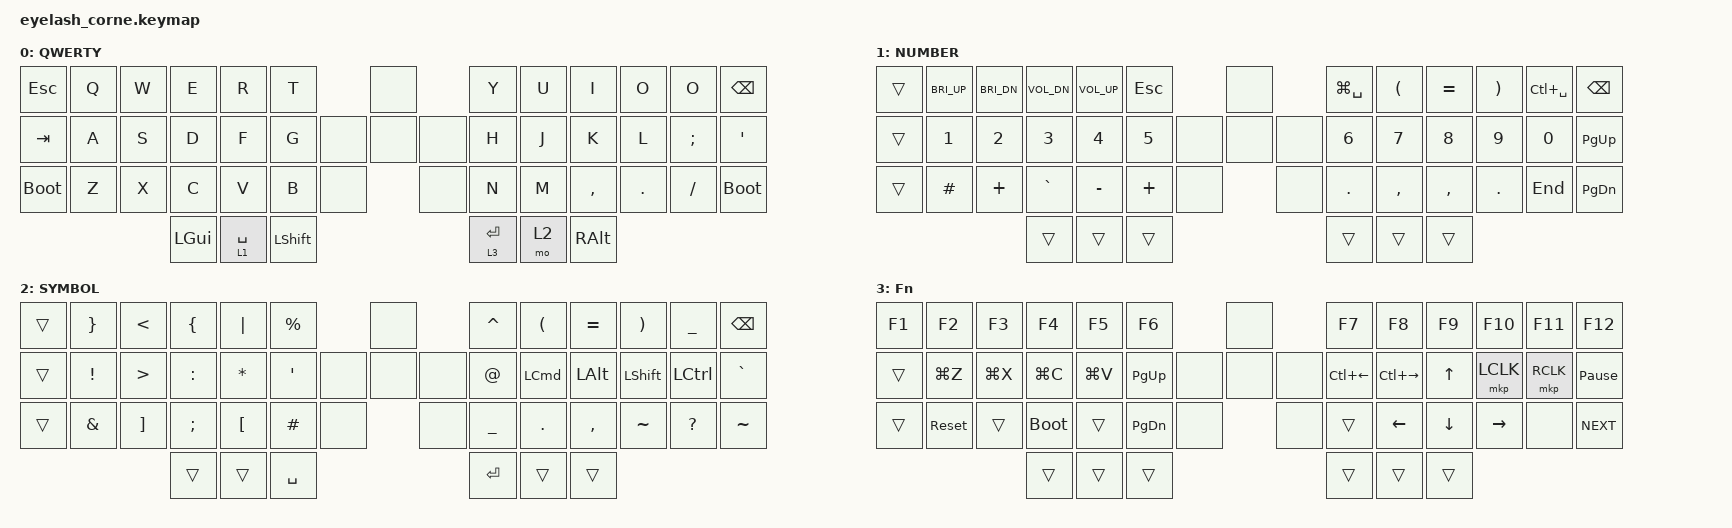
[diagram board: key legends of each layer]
#define ZMK_POINTING_DEFAULT_MOVE_VAL 1200  // 600
#define ZMK_POINTING_DEFAULT_SCRL_VAL 25   // 10

#include <input/processors.dtsi>
#include <zephyr/dt-bindings/input/input-event-codes.h>
#include <behaviors.dtsi>
#include <dt-bindings/zmk/keys.h>
#include <dt-bindings/zmk/pointing.h>
#include <dt-bindings/zmk/rgb.h>

&mmv_input_listener { input-processors = <&zip_xy_scaler 2 1>; };

&msc_input_listener { input-processors = <&zip_scroll_scaler 2 1>; };

&msc {
    acceleration-exponent = <1>;      // 0
    time-to-max-speed-ms = <100>;       // 300
    delay-ms = <0>;                   // 0
};

&mmv {
    time-to-max-speed-ms = <500>;
    acceleration-exponent = <1>;
    trigger-period-ms = <16>;
};

/ {
    behaviors {
        td0: td0 {
            compatible = "zmk,behavior-tap-dance";
            display-name = "Shift/Caps Lock Tap Dance";
            #binding-cells = <0>;
            bindings = <&kp LEFT_SHIFT>, <&kp CAPS>;
        };
    };

    rgb_encoder: rgb_encoder {
        compatible = "zmk,behavior-sensor-rotate";
        #sensor-binding-cells = <0>;
        bindings = <&rgb_ug RGB_BRI>, <&rgb_ug RGB_BRD>;
    };

    scroll_encoder: scroll_encoder {
        compatible = "zmk,behavior-sensor-rotate";
        #sensor-binding-cells = <0>;
        bindings = <&msc SCRL_DOWN>, <&msc SCRL_UP>;

        tap-ms = <100>;
    };

    combos {
        compatible = "zmk,combos";

        tab {
            bindings = <&kp TAB>;
            key-positions = <15 16 17>;
        };

        enter {
            bindings = <&kp ENTER>;
            key-positions = <23 24 25>;
        };
    };

    keymap {
        compatible = "zmk,keymap";

        qwerty {
            display-name = "QWERTY";
            bindings = <
&kp ESC      &kp Q  &kp W  &kp E     &kp R        &kp T                           &none         &kp Y        &kp U  &kp I      &kp O    &kp O          &kp BSPC
&kp TAB      &kp A  &kp S  &kp D     &kp F        &kp G                    &none  &none  &none  &kp H        &kp J  &kp K      &kp L    &kp SEMICOLON  &kp SQT
&bootloader  &kp Z  &kp X  &kp C     &kp V        &kp B           &none           &none         &kp N        &kp M  &kp COMMA  &kp DOT  &kp SLASH      &bootloader
                           &kp LGUI  &lt 1 SPACE  &kp LEFT_SHIFT                                &lt 3 ENTER  &mo 2  &kp RALT
            >;
        };

        nums {
            display-name = "NUMBER";
            bindings = <
&trans  &kp C_BRI_UP  &kp C_BRI_DN  &kp C_VOL_DN  &kp C_VOL_UP  &kp ESCAPE                    &none         &kp LG(SPACE)  &kp LEFT_PARENTHESIS  &kp EQUAL     &kp RIGHT_PARENTHESIS  &kp LC(SPACE)  &kp BSPC
&trans  &kp NUMBER_1  &kp NUMBER_2  &kp NUMBER_3  &kp NUMBER_4  &kp NUMBER_5           &none  &none  &none  &kp NUMBER_6   &kp N7                &kp NUMBER_8  &kp NUMBER_9           &kp NUMBER_0   &kp PG_UP
&trans  &kp HASH      &kp PLUS      &kp GRAVE     &kp MINUS     &kp PLUS      &none           &none         &kp PERIOD     &kp COMMA             &kp COMMA     &kp PERIOD             &kp END        &kp PG_DN
                                    &trans        &trans        &trans                                      &trans         &trans                &trans
            >;
        };

        symbols {
            display-name = "SYMBOL";
            bindings = <
&trans  &kp RIGHT_BRACE  &kp LESS_THAN      &kp LEFT_BRACE  &kp PIPE          &kp PRCNT                  &none         &kp CARET    &kp LEFT_PARENTHESIS  &kp EQUAL     &kp RIGHT_PARENTHESIS  &kp UNDERSCORE  &kp BSPC
&trans  &kp EXCLAMATION  &kp GREATER_THAN   &kp COLON       &kp ASTERISK      &kp SQT             &none  &none  &none  &kp AT_SIGN  &kp LCMD              &kp LEFT_ALT  &kp LEFT_SHIFT         &kp LCTRL       &kp GRAVE
&trans  &kp AMPERSAND    &kp RIGHT_BRACKET  &kp SEMICOLON   &kp LEFT_BRACKET  &kp HASH   &none           &none         &kp UNDER    &kp PERIOD            &kp COMMA     &kp TILDE              &kp QUESTION    &kp TILDE
                                            &trans          &trans            &kp SPACE                                &kp RET      &trans                &trans
            >;
        };

        layer_3 {
            display-name = "Fn";
            bindings = <
&kp F1  &kp F2      &kp F3     &kp F4       &kp F5     &kp F6                         &none         &kp F7              &kp F8               &kp F9          &kp F10          &kp F11    &kp F12
&trans  &kp LG(Z)   &kp LG(X)  &kp LG(C)    &kp LG(V)  &kp PG_UP               &none  &none  &none  &kp LC(LEFT_ARROW)  &kp LC(RIGHT_ARROW)  &kp UP_ARROW    &mkp LCLK        &mkp RCLK  &kp PAUSE_BREAK
&trans  &sys_reset  &trans     &bootloader  &trans     &kp PAGE_DOWN  &none           &none         &trans              &kp LEFT_ARROW       &kp DOWN_ARROW  &kp RIGHT_ARROW  &none      &kp C_NEXT
                               &trans       &trans     &trans                                       &trans              &trans               &trans
            >;
        };
    };
};
